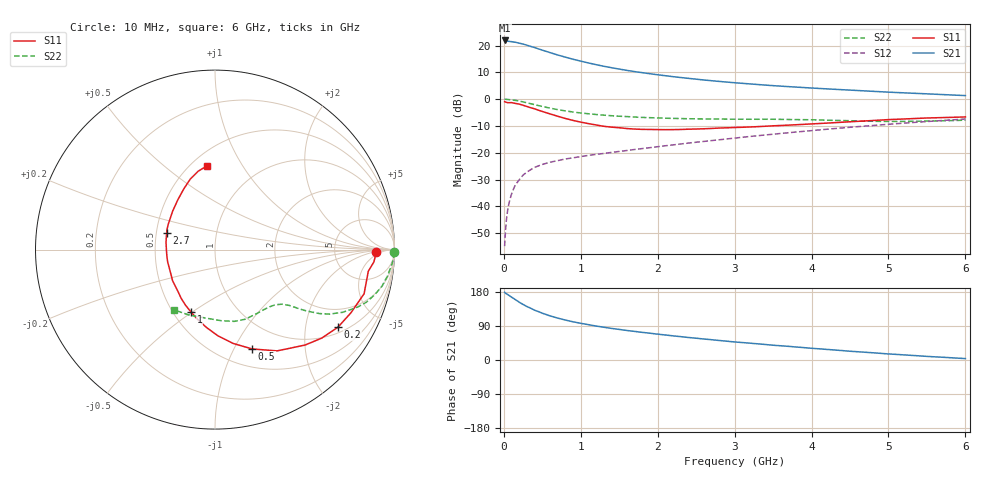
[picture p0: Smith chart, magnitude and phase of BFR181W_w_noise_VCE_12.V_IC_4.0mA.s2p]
! Infineon Technologies  Discrete & RF Semiconductors
! BFR181W
! VCE =  12. V,  IC =  4.0 mA
! Common Emitter S-Parameters:  Jan 2017
# GHz  S  MA  R  50
!  f  S11  S21  S12  S22
! GHz  MAG  ANG  MAG  ANG  MAG  ANG  MAG  ANG
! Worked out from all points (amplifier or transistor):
!   77 points, 10 MHz to 6 GHz, reference 50 ohm
!   highest |S21| = 22.0 dB at 10 MHz (marker M1)
!   |S21| within 3 dB of that: start of sweep to 435.2 MHz
!   unconditionally stable (mu >= 1): 1.529 GHz to 3.56 GHz
!   at 130 MHz: K = 0.14, MSG = 27.3 dB, |S12| = -33.3 dB
!   at 2.2 GHz: K = 1.08, MAG = 11.0 dB, |S12| = -17.1 dB
!   at 6 GHz: K = 0.85, MSG = 4.4 dB, |S12| = -7.4 dB
!   lowest NFmin = 0.92 dB at 450 MHz
!   S11 on the Smith chart (normalised r, x): 10 MHz: 19, -2; 200 MHz: 1.20, -3.02; 500 MHz: 0.70, -1.18; 1 GHz: 0.61, -0.50; 2.7 GHz: 0.57, +0.11; 6 GHz: 0.60, +0.71
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0.01  0.8993 -0.8  12.53 178.7  0.0018 87.0  0.998 -0.9
0.02  0.8878 -4.5  12.4 176.4  0.0032 87.8  0.999 -1.5
0.07  0.8619 -11.4  12.03 170.1  0.0119 82.3  0.983 -6.0
0.15  0.8353 -24.9  11.59 159.3  0.025 76.5  0.9525 -12.4
0.2  0.8099 -32.3  11.16 152.6  0.0313 73.2  0.9236 -15.9
0.25  0.7723 -39.7  10.73 146.6  0.0383 69.1  0.8925 -19.2
0.3  0.7315 -46.6  10.21 141.1  0.0436 66.0  0.8574 -21.9
0.4  0.6618 -58.5  9.23 131.4  0.0533 61.1  0.7917 -26.2
0.5  0.5908 -69.5  8.257 123.5  0.0605 58.1  0.7324 -29.4
0.6  0.5323 -79.1  7.438 116.5  0.0666 55.7  0.6821 -31.5
0.7  0.4809 -88.0  6.707 110.6  0.0713 54.6  0.6395 -32.9
0.8  0.4372 -96.1  6.112 105.4  0.0766 54.3  0.6054 -34.1
1  0.3734 -110.8  5.144 96.8  0.085 53.4  0.5532 -35.7
1.1  0.3505 -118.0  4.759 93.2  0.0893 53.9  0.5354 -36.3
1.3  0.312 -131.2  4.128 86.4  0.097 54.4  0.5045 -37.7
1.5  0.2932 -143.7  3.659 80.7  0.1059 55.6  0.4815 -39.2
2.1  0.2701 -175.1  2.749 66.0  0.1351 58.3  0.4426 -45.8
2.7  0.2846 161.2  2.218 53.5  0.1688 59.3  0.4273 -54.6
3.1  0.2994 148.6  1.982 46.1  0.1947 58.9  0.4232 -60.6
4.1  0.352 124.8  1.59 29.5  0.2671 55.5  0.4096 -77.0
5.1  0.4219 107.8  1.336 14.8  0.3488 48.9  0.3845 -100.8
6  0.467 95.8  1.17 3.7  0.4268 41.1  0.4066 -124.5
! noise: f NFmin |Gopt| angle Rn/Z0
0.45  0.92  0.39  16  0.24
0.9  0.97  0.36  31  0.24
1.9  1.4  0.2  79  0.2
2.4  1.56  0.17  94  0.22
